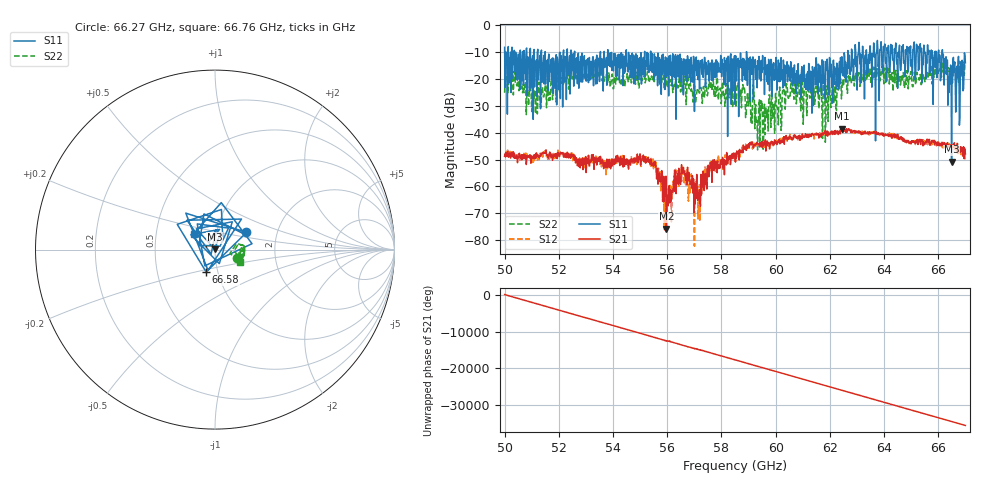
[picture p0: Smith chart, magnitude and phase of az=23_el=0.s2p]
!Created with skrf (http://scikit-rf.org).
# GHz S RI R 50.0
!freq ReS11 ImS11 ReS21 ImS21 ReS12 ImS12 ReS22 ImS22
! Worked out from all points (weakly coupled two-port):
!   1001 points, 50 GHz to 67 GHz, reference 50 ohm
!   highest |S21| = -38.44 dB at 62.44 GHz (marker M1); lowest = -75.8 dB at 55.97 GHz (marker M2)
!   lowest |S11| = -50.8 dB at 66.49 GHz (marker M3), VSWR 1.01, Z = 49.9 + j0.255 ohm
!   |S11| at or under -10 dB: 52.58 GHz to 53.53 GHz (949.4 MHz wide, 1.79 % of centre); 55.39 GHz to 58.92 GHz (3.534 GHz wide, 6.18 % of centre); 58.93 GHz to 62.66 GHz (3.737 GHz wide, 6.15 % of centre) (the widest 3 of 63)
!   |S22| runs from -46.7 to -13.4 dB; largest |S21 - S12| = 0.0022
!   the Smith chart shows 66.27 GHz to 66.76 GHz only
!   S11 on the Smith chart (normalised r, x): 66.27 GHz: 1.39, +0.28; 66.58 GHz: 0.88, -0.22; 66.76 GHz: 0.78, +0.14
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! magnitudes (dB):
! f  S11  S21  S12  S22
! 50 GHz  -8.2  -48.8  -48.8  -25.1
! 51.14 GHz  -13.9  -48.0  -48.3  -32.9
! 52.84 GHz  -12.2  -52.2  -51.5  -19.8
! 55.2 GHz  -14.5  -51.3  -51.1  -20.7
! 55.68 GHz  -13.5  -56.0  -53.2  -21.1
! 55.97 GHz  -19.0  -75.8  -62.3  -18.6
! 56.31 GHz  -10.9  -54.2  -53.6  -20.6
! 56.6 GHz  -25.9  -52.9  -55.7  -24.3
! 57.21 GHz  -15.0  -64.5  -73.0  -24.5
! 57.62 GHz  -15.4  -53.1  -52.9  -21.0
! 58.5 GHz  -29.4  -49.3  -47.8  -24.9
! 59.61 GHz  -11.9  -44.2  -44.9  -40.8
! 60.34 GHz  -14.8  -41.6  -42.5  -27.3
! 61.34 GHz  -32.7  -40.3  -41.1  -26.7
! 61.78 GHz  -17.4  -40.3  -40.1  -20.2
! 62.44 GHz  -11.7  -38.4  -39.1  -24.4
! 64.18 GHz  -12.1  -40.8  -41.3  -17.9
! 66.27 GHz  -14.0  -44.9  -44.9  -17.6
! 66.49 GHz  -50.8  -45.3  -45.1  -15.6
! 66.58 GHz  -17.5  -44.5  -45.1  -15.6
! 66.76 GHz  -16.6  -46.1  -47.0  -16.2
! 67 GHz  -14.0  -47.9  -47.8  -14.4
